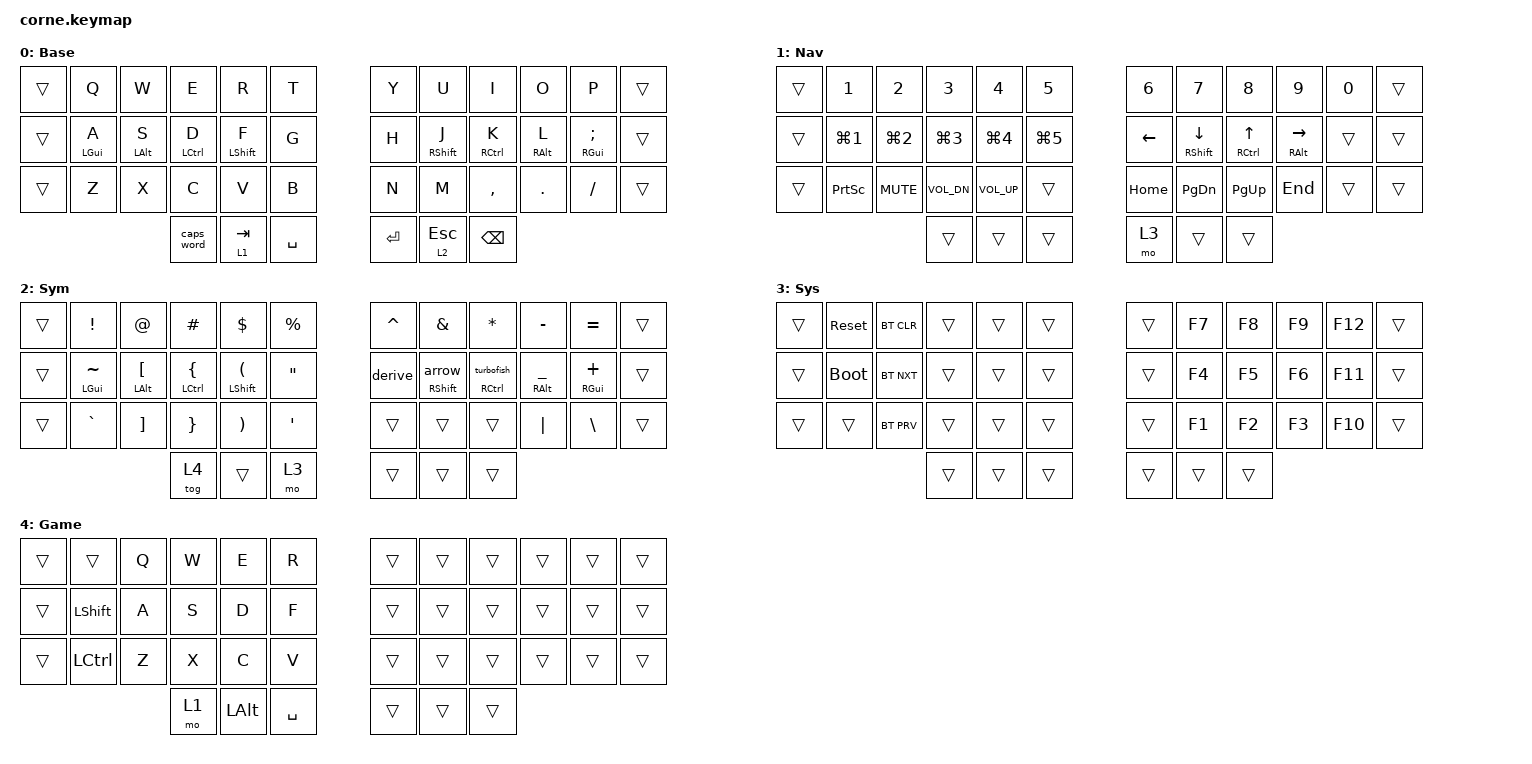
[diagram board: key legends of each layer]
/*
 * Copyright (c) 2020 The ZMK Contributors
 *
 * SPDX-License-Identifier: MIT
 */

#include <behaviors.dtsi>
#include <dt-bindings/zmk/bt.h>
#include <dt-bindings/zmk/keys.h>

&mt {
    quick-tap-ms = <175>;
    flavor = "tap-preferred";
    tapping-term-ms = <175>;
};

&lt { quick-tap-ms = <200>; };

/ {
    combos { compatible = "zmk,combos"; };

    macros {
        arrow: arrow {
            compatible = "zmk,behavior-macro";
            #binding-cells = <0>;
            bindings = <&kp MINUS &kp GT>;
            label = "ARROW";
            wait-ms = <1>;
            tap-ms = <1>;
        };

        turbofish: turbofish {
            compatible = "zmk,behavior-macro";
            #binding-cells = <0>;
            bindings = <&kp COLON &kp COLON &kp LT &kp GT &kp LEFT>;
            label = "TURBOFISH";
            wait-ms = <1>;
            tap-ms = <1>;
        };

        derive: derive {
            compatible = "zmk,behavior-macro";
            #binding-cells = <0>;
            bindings = <&kp POUND &kp LBKT &kp D &kp E &kp R &kp I &kp V &kp E &kp LPAR &kp RPAR &kp RBKT &kp LEFT &kp LEFT>;
            label = "DERIVE";
            wait-ms = <1>;
            tap-ms = <1>;
        };
    };

    behaviors {
        arrow_mod_tap: arrow_mod_tap {
            compatible = "zmk,behavior-hold-tap";
            label = "ARROW_MOD_TAP";
            bindings = <&kp>, <&arrow>;

            #binding-cells = <2>;
            tapping-term-ms = <175>;
            quick-tap-ms = <175>;
            flavor = "tap-preferred";
        };

        turbofish_mod_tap: turbofish_mod_tap {
            compatible = "zmk,behavior-hold-tap";
            label = "TURBOFISH_MOD_TAP";
            bindings = <&kp>, <&turbofish>;

            #binding-cells = <2>;
            tapping-term-ms = <175>;
            quick-tap-ms = <175>;
            flavor = "tap-preferred";
        };
    };

    keymap {
        compatible = "zmk,keymap";

        base_layer {
            label = "Base";
            bindings = <
&trans  &kp Q       &kp W       &kp E        &kp R             &kp T        &kp Y    &kp U        &kp I        &kp O       &kp P               &trans
&trans  &mt LGUI A  &mt LALT S  &mt LCTRL D  &mt LEFT_SHIFT F  &kp G        &kp H    &mt RSHFT J  &mt RCTRL K  &mt RALT L  &mt RGUI SEMICOLON  &trans
&trans  &kp Z       &kp X       &kp C        &kp V             &kp B        &kp N    &kp M        &kp COMMA    &kp DOT     &kp FSLH            &trans
                                &caps_word   &lt 1 TAB         &kp SPACE    &kp RET  &lt 2 ESC    &kp BSPC
            >;
        };

        nav_layer {
            label = "Nav";
            bindings = <
&trans  &kp N1            &kp N2            &kp N3            &kp N4            &kp N5        &kp N6    &kp N7                &kp N8              &kp N9               &kp N0  &trans
&trans  &kp LG(NUMBER_1)  &kp LG(NUMBER_2)  &kp LG(NUMBER_3)  &kp LG(NUMBER_4)  &kp LG(N5)    &kp LEFT  &mt RIGHT_SHIFT DOWN  &mt RCTRL UP_ARROW  &mt RIGHT_ALT RIGHT  &trans  &trans
&trans  &kp PRINTSCREEN   &kp K_MUTE        &kp C_VOL_DN      &kp C_VOL_UP      &trans        &kp HOME  &kp PAGE_DOWN         &kp PAGE_UP         &kp END              &trans  &trans
                                            &trans            &trans            &trans        &mo 3     &trans                &trans
            >;
        };

        sym_layer {
            label = "Sym";
            bindings = <
&trans  &kp EXCL        &kp AT                 &kp HASH              &kp DLLR                         &kp PRCNT            &kp CARET  &kp AMPS                 &kp ASTRK                   &kp MINUS            &kp EQUAL      &trans
&trans  &mt LGUI TILDE  &mt LALT LEFT_BRACKET  &mt LCTRL LEFT_BRACE  &mt LEFT_SHIFT LEFT_PARENTHESIS  &kp DOUBLE_QUOTES    &derive    &arrow_mod_tap RSHIFT 0  &turbofish_mod_tap RCTRL 0  &mt RALT UNDERSCORE  &mt RGUI PLUS  &trans
&trans  &kp GRAVE       &kp RIGHT_BRACKET      &kp RIGHT_BRACE       &kp RIGHT_PARENTHESIS            &kp SINGLE_QUOTE     &trans     &trans                   &trans                      &kp PIPE             &kp BACKSLASH  &trans
                                               &tog 4                &trans                           &mo 3                &trans     &trans                   &trans
            >;
        };

        sys_layer {
            label = "Sys";
            bindings = <
&trans  &sys_reset   &bt BT_CLR  &trans  &trans  &trans    &trans  &kp F7  &kp F8  &kp F9  &kp F12  &trans
&trans  &bootloader  &bt BT_NXT  &trans  &trans  &trans    &trans  &kp F4  &kp F5  &kp F6  &kp F11  &trans
&trans  &trans       &bt BT_PRV  &trans  &trans  &trans    &trans  &kp F1  &kp F2  &kp F3  &kp F10  &trans
                                 &trans  &trans  &trans    &trans  &trans  &trans
            >;
        };

        game_layer {
            label = "Game";
            bindings = <
&trans  &trans     &kp Q  &kp W  &kp E         &kp R        &trans  &trans  &trans  &trans  &trans  &trans
&trans  &kp LSHFT  &kp A  &kp S  &kp D         &kp F        &trans  &trans  &trans  &trans  &trans  &trans
&trans  &kp LCTRL  &kp Z  &kp X  &kp C         &kp V        &trans  &trans  &trans  &trans  &trans  &trans
                          &mo 1  &kp LEFT_ALT  &kp SPACE    &trans  &trans  &trans
            >;
        };
    };
};
